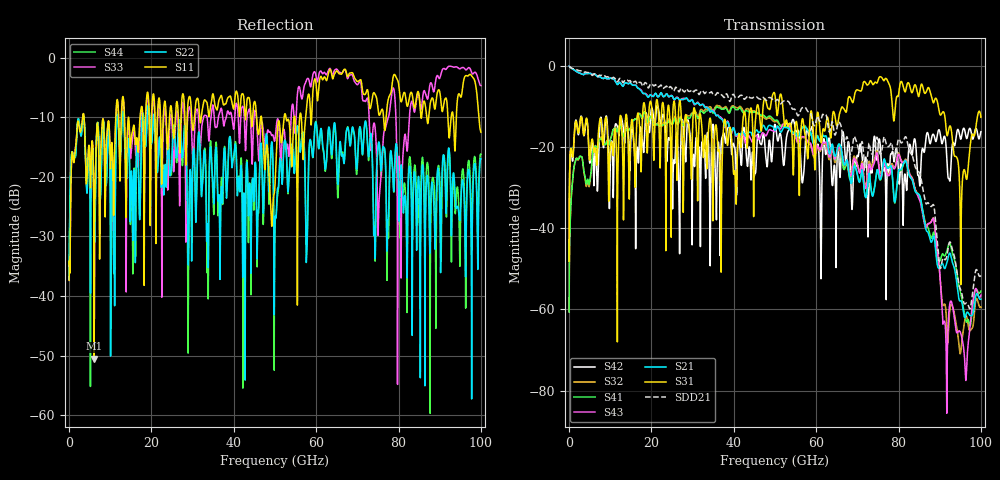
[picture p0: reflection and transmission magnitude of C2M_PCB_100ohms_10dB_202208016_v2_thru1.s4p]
! Info: Touchstone file created by Circ.  Input file=Intel_C2M_200G_1p5in_202208016_staggered.circ
# Hz S RI R 50
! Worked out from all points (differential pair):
!   10000 points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, 10 MHz to 100 GHz, reference 50 ohm
!   strongest paths, dB at 10 MHz, 25.01 GHz, 50.01 GHz, 75.01 GHz, 100 GHz:
!     S31: -48.1, -16.5, -7.3, -3.7, -12.7
!     S21: -0.1, -7.4, -15.8, -25.9, -57.5
!     S43: -0.1, -7.4, -16.2, -22.9, -56.5
!     S41: -60.6, -14.4, -13.5, -26.0, -55.5
!     S32: -60.6, -14.4, -13.8, -22.4, -59.4
!     S42: -48.1, -25.5, -14.4, -20.1, -16.3
!   taken as a pair (ports 1,3 in; 2,4 out), SDD21 dB: -0.1, -5.6, -8.7, -18.6, -51.6
!   lowest |S11| = -50.5 dB at 6.1 GHz (marker M1), VSWR 1.01, Z = 49.9 - j0.266 ohm
!   |S11| at or under -10 dB: start of sweep to 3.293 GHz; 3.63 GHz to 11.34 GHz (7.711 GHz wide, 103 % of centre); 46.72 GHz to 52.22 GHz (5.499 GHz wide, 11.1 % of centre)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
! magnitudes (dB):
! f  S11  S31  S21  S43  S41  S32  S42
! 10 MHz  -37.3  -48.1  -0.1  -0.1  -60.6  -60.6  -48.1
! 6.1 GHz  -50.5  -21.3  -2.1  -2.1  -20.1  -20.0  -27.5
! 64.87 GHz  -2.2  -14.4  -21.8  -22.1  -22.4  -22.7  -40.6
! 80.12 GHz  -5.0  -6.3  -25.6  -21.9  -25.9  -21.6  -28.6
! 91.5 GHz  -6.8  -14.9  -49.3  -67.2  -46.3  -60.3  -19.2
! 95.21 GHz  -6.6  -38.6  -57.9  -66.2  -56.4  -69.5  -17.9
! 100 GHz  -12.5  -12.7  -57.5  -56.5  -55.5  -59.4  -16.3
